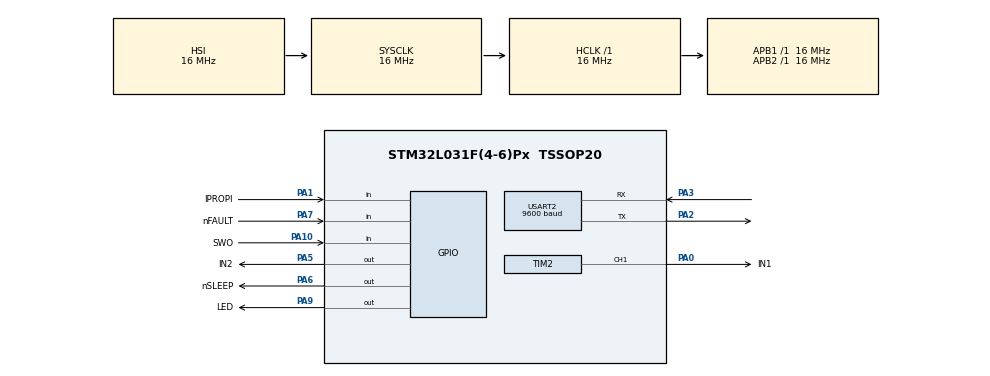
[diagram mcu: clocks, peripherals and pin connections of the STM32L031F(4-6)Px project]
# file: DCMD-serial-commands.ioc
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Mcu.Family=STM32L0
Mcu.Name=STM32L031F(4-6)Px
Mcu.Package=TSSOP20
NVIC.TIM2_IRQn=true\:0\:0\:false\:false\:true\:true\:true\:true
NVIC.USART2_IRQn=true\:0\:0\:false\:false\:true\:true\:true\:true
PA0-CK_IN.GPIO_Label=IN1
PA0-CK_IN.Signal=S_TIM2_CH1
PA1.GPIO_Label=IPROPI
PA1.Signal=GPIO_Input
PA10.GPIO_Label=SWO
PA10.Signal=GPIO_Input
PA13.Mode=Serial_Wire
PA13.Signal=SYS_SWDIO
PA14.Mode=Serial_Wire
PA14.Signal=SYS_SWCLK
PA2.Mode=Asynchronous
PA2.Signal=USART2_TX
PA3.Mode=Asynchronous
PA3.Signal=USART2_RX
PA5.GPIO_Label=IN2
PA5.Signal=GPIO_Output
PA6.GPIO_Label=nSLEEP
PA6.Signal=GPIO_Output
PA7.GPIO_Label=nFAULT
PA7.Signal=GPIO_Input
PA9.GPIO_Label=LED
PA9.PinState=GPIO_PIN_SET
PA9.Signal=GPIO_Output
PC14-OSC32_IN.Mode=LSE-External-Oscillator
PC14-OSC32_IN.Signal=RCC_OSC32_IN
PC15-OSC32_OUT.Mode=LSE-External-Oscillator
PC15-OSC32_OUT.Signal=RCC_OSC32_OUT
ProjectManager.HeapSize=0x200
ProjectManager.StackSize=0x400
ProjectManager.TargetToolchain=STM32CubeIDE
RCC.AHBFreq_Value=16000000
RCC.APB1Freq_Value=16000000
RCC.APB1TimFreq_Value=16000000
RCC.APB2Freq_Value=16000000
RCC.APB2TimFreq_Value=16000000
RCC.HCLKFreq_Value=16000000
RCC.HSE_VALUE=8000000
RCC.HSI16_VALUE=16000000
RCC.HSI_VALUE=16000000
RCC.MSI_VALUE=2097000
RCC.SYSCLKFreq_VALUE=16000000
RCC.SYSCLKSource=RCC_SYSCLKSOURCE_HSI
RCC.VCOOutputFreq_Value=48000000
SH.S_TIM2_CH1.0=TIM2_CH1,PWM Generation1 CH1
TIM2.AutoReloadPreload=TIM_AUTORELOAD_PRELOAD_ENABLE
TIM2.Channel-PWM\ Generation1\ CH1=TIM_CHANNEL_1
TIM2.Period=999
TIM2.Prescaler=15
TIM2.Pulse-PWM\ Generation1\ CH1=499
USART2.BaudRate=9600
USART2.VirtualMode-Asynchronous=VM_ASYNC
VP_TIM2_VS_ClockSourceINT.Mode=Internal
board=custom

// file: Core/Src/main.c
/* USER CODE BEGIN Header */
/**
 ******************************************************************************
 * @file           : main.c
 * @brief          : Main program body
 ******************************************************************************
 * @attention
 *
 * Copyright (c) 2023 STMicroelectronics.
 * All rights reserved.
 *
 * This software is licensed under terms that can be found in the LICENSE file
 * in the root directory of this software component.
 * If no LICENSE file comes with this software, it is provided AS-IS.
 *
 ******************************************************************************
 */
/* USER CODE END Header */
#include "main.h"
#include "tim.h"
#include "usart.h"
#include "gpio.h"

/* USER CODE BEGIN Includes */
#include "motor_cmd_utils.h"
#include "uart_printf.h"

#include <string.h>
#include <stdio.h>
/* USER CODE END Includes */

/* USER CODE BEGIN PD */
#define DIM 			15
/* USER CODE END PD */

/* USER CODE BEGIN PV */
typedef struct {
	bool is_cmd_sent;
	char cmd_received[DIM];
	char last_char_received[1];
	uint8_t char_index;
} uart_rx_handler;

uart_rx_handler serial_cmd_handler = {.is_cmd_sent = false};

typedef enum {
	INIT = 0U,
	WAIT_FOR_CMD,
	CMD_RECEIVED,
	RUN_MOTOR,
} state;

typedef struct {
	state current_state;
	state next_state;
	bool go_to_next_state;
} state_FSM; // Finite State Machine

state_FSM fsm_handler;

/* USER CODE END PV */

void SystemClock_Config(void);
/* USER CODE BEGIN PFP */
void set_and_go_to_next_state(state next_state);

void reset_cmd(uart_rx_handler *uart_handler);

/* USER CODE END PFP */

int main(void)
{

  /* MCU Configuration--------------------------------------------------------*/

  /* Reset of all peripherals, Initializes the Flash interface and the Systick. */
  HAL_Init();

  /* Configure the system clock */
  SystemClock_Config();

  /* Initialize all configured peripherals */
  MX_GPIO_Init();
  MX_USART2_UART_Init();
  MX_TIM2_Init();
  /* USER CODE BEGIN 2 */

	// INIT PHASE
	fsm_handler.current_state    = INIT;
	reset_cmd(&serial_cmd_handler);

	printf("\n\r----------------------START----------------------\r\n");

  /* USER CODE END 2 */

  /* Infinite loop */
  /* USER CODE BEGIN WHILE */
	while (1)
	{
		if (fsm_handler.go_to_next_state) {
			fsm_handler.current_state = fsm_handler.next_state;
		}
		switch (fsm_handler.current_state) {
		case INIT:
			//HAL_NVIC_SystemReset(); //FIX: what??
			set_and_go_to_next_state(WAIT_FOR_CMD);
			printf("\nDigit 'ok' and press ENTER to start motor test.\r\n");
			printf("Type 'help' to see all the available commands\r\n\n"); //TODO: automatic print of the available cmd
			break;
		case WAIT_FOR_CMD:
			printf("\n\n\rWaiting for command...\r\n\n");
			while(serial_cmd_handler.is_cmd_sent == false)
			{
				HAL_UART_Receive_IT(&UART_USB, (uint8_t *)serial_cmd_handler.last_char_received, 1);
			}
			if (serial_cmd_handler.is_cmd_sent)
			{
				set_and_go_to_next_state(CMD_RECEIVED);
			}
			break;
		case CMD_RECEIVED:
			parse_and_execute_cmd(serial_cmd_handler.cmd_received);
			if (motor_code == RUN)
			{
				set_and_go_to_next_state(RUN_MOTOR);
			}
			else
			{
				set_and_go_to_next_state(WAIT_FOR_CMD);
			}
			reset_cmd(&serial_cmd_handler);
			break;
		case RUN_MOTOR:
			printf("\n\n\rMotor running...\n\r");
			run_motor();
			printf("\n\rEND test\n\r");
			set_and_go_to_next_state(WAIT_FOR_CMD);
			break;
		}
    /* USER CODE END WHILE */

	}
}

void SystemClock_Config(void)
{
  RCC_OscInitTypeDef RCC_OscInitStruct = {0};
  RCC_ClkInitTypeDef RCC_ClkInitStruct = {0};
  RCC_PeriphCLKInitTypeDef PeriphClkInit = {0};

  /** Configure the main internal regulator output voltage
  */
  __HAL_PWR_VOLTAGESCALING_CONFIG(PWR_REGULATOR_VOLTAGE_SCALE1);

  /** Initializes the RCC Oscillators according to the specified parameters
  * in the RCC_OscInitTypeDef structure.
  */
  RCC_OscInitStruct.OscillatorType = RCC_OSCILLATORTYPE_HSI;
  RCC_OscInitStruct.HSIState = RCC_HSI_ON;
  RCC_OscInitStruct.HSICalibrationValue = RCC_HSICALIBRATION_DEFAULT;
  RCC_OscInitStruct.PLL.PLLState = RCC_PLL_NONE;
  if (HAL_RCC_OscConfig(&RCC_OscInitStruct) != HAL_OK)
  {
    Error_Handler();
  }

  /** Initializes the CPU, AHB and APB buses clocks
  */
  RCC_ClkInitStruct.ClockType = RCC_CLOCKTYPE_HCLK|RCC_CLOCKTYPE_SYSCLK
                              |RCC_CLOCKTYPE_PCLK1|RCC_CLOCKTYPE_PCLK2;
  RCC_ClkInitStruct.SYSCLKSource = RCC_SYSCLKSOURCE_HSI;
  RCC_ClkInitStruct.AHBCLKDivider = RCC_SYSCLK_DIV1;
  RCC_ClkInitStruct.APB1CLKDivider = RCC_HCLK_DIV1;
  RCC_ClkInitStruct.APB2CLKDivider = RCC_HCLK_DIV1;

  if (HAL_RCC_ClockConfig(&RCC_ClkInitStruct, FLASH_LATENCY_0) != HAL_OK)
  {
    Error_Handler();
  }
  PeriphClkInit.PeriphClockSelection = RCC_PERIPHCLK_USART2;
  PeriphClkInit.Usart2ClockSelection = RCC_USART2CLKSOURCE_PCLK1;
  if (HAL_RCCEx_PeriphCLKConfig(&PeriphClkInit) != HAL_OK)
  {
    Error_Handler();
  }
}

/* USER CODE BEGIN 4 */
void set_and_go_to_next_state(state next_state)
{
	fsm_handler.next_state       = next_state;
	fsm_handler.go_to_next_state = true;
}

void reset_cmd(uart_rx_handler *uart_handler)
{
	uart_handler->char_index = 0;
	memset(uart_handler->cmd_received, 0x0, sizeof(uart_handler->cmd_received));
	uart_handler->is_cmd_sent = false;
}

void HAL_UART_RxCpltCallback(UART_HandleTypeDef *huart)
{
	serial_cmd_handler.cmd_received[serial_cmd_handler.char_index] = serial_cmd_handler.last_char_received[0];
	serial_cmd_handler.char_index++;
	if (serial_cmd_handler.last_char_received[0] == '\n' || serial_cmd_handler.last_char_received[0] == '\r')
	{
		serial_cmd_handler.is_cmd_sent = true;
		serial_cmd_handler.char_index = 0;
	}
}
/* USER CODE END 4 */

void Error_Handler(void)
{
	__disable_irq();
	while (1)
	{
	}
}
